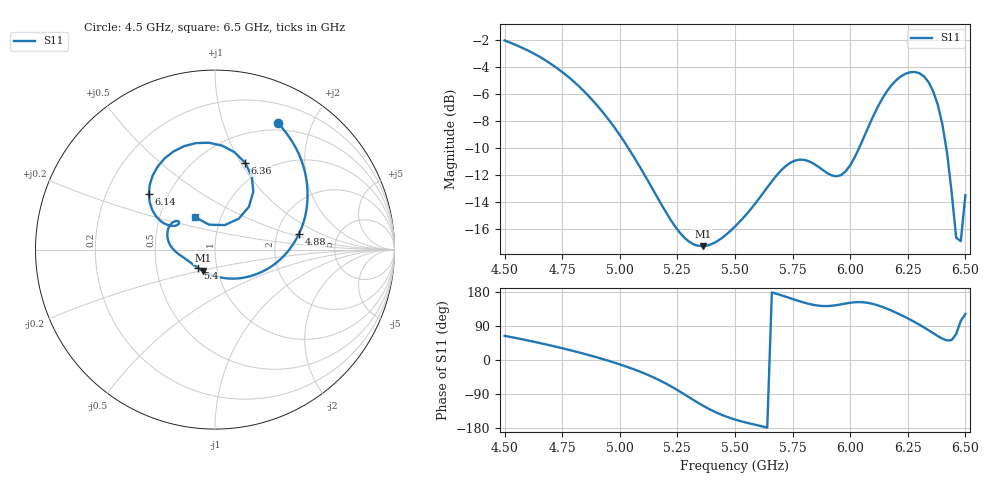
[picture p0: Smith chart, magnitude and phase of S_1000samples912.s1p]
! TOUCHSTONE file generated by CST MICROWAVE STUDIO
! Date and time: Sat Oct 29 18:52:03 2022
! Project name: L.cst
! Parameters = {Di=1.27; Epsilon_r=1.56; InnerDiameter=1.27; Length=2; Lf=10; Lg=60; OuterConductorThickness=0.2921; OuterDiameter=3.6; Wf=3; Wp=41.2; de=1.5; df=6.8; g=0.8; gx=2.2856; gy=2.12599; h=2.34; hf=1.524; px=13.199; py=11.3073; w=9.7; wx=10.9134; wy=9.18126}
! Header version: 2018
! Port assignment regex: !\s*Touchstone port\s*([0-9]+)\s*=\s*(CST MWS port|CST DS port)\s*([0-9]+|Zmin|Zmax)\s*\(\"(.*)\"\)(\s*mode\s*([0-9]+))?.*
! Touchstone port assignment:
! Touchstone port 1 = CST MWS port 1 ("")
# GHz S DB R 50
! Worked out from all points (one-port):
!   101 points, 4.5 GHz to 6.5 GHz, reference 50 ohm
!   lowest |S11| = -17.3 dB at 5.36 GHz (marker M1), VSWR 1.32, Z = 42.4 - j10.2 ohm
!   |S11| at or under -10 dB: 5.036 GHz to 6.039 GHz (1.003 GHz wide, 18.1 % of centre); 6.417 GHz to end of sweep
!   S11 on the Smith chart (normalised r, x): 4.5 GHz: 0.41, +1.53; 4.88 GHz: 2.66, +0.59; 5.4 GHz: 0.81, -0.17; 6.14 GHz: 0.39, +0.31; 6.36 GHz: 0.80, +1.04; 6.5 GHz: 0.76, +0.28
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4.5  -2.07 63.7
4.64  -3.16 46.5
4.76  -4.53 29.6
4.88  -6.46 10.5
5  -9.06 -11.6
5.12  -12.38 -38.9
5.26  -16.28 -83.0
5.36  -17.29 -120.1
5.4  -17.12 -133.1
5.5  -15.83 -157.1
5.64  -12.94 -178.5
5.76  -10.96 159.0
5.84  -11.17 145.6
5.9  -11.87 142.3
5.96  -12.03 146.8
6  -11.30 151.1
6.08  -8.42 150.4
6.14  -6.35 140.0
6.2  -5.00 124.6
6.26  -4.42 106.7
6.3  -4.49 93.3
6.32  -4.72 86.1
6.36  -5.82 70.9
6.4  -8.26 56.4
6.42  -10.33 51.6
6.46  -16.66 68.4
6.48  -16.91 103.2
6.5  -13.52 121.4
